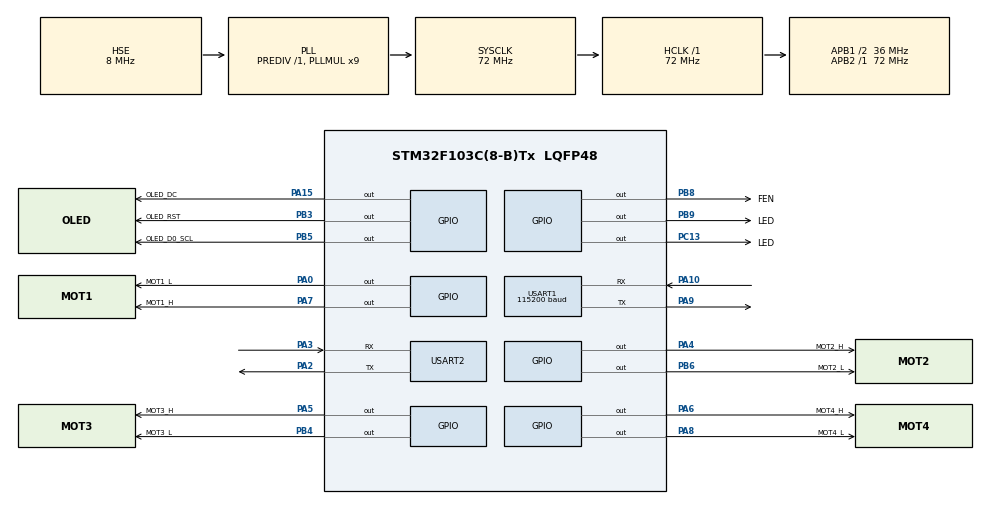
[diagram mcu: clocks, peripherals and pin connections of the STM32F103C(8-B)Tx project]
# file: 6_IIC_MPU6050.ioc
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FREERTOS.Tasks01=defaultTask,0,128,StartDefaultTask,Default,NULL,Dynamic,NULL,NULL;myTask02,-3,128,StartTask02,Default,NULL,Dynamic,NULL,NULL;myTask03,-3,128,StartTask03,Default,NULL,Dynamic,NULL,NULL;myTask04,-3,128,StartTask04,Default,NULL,Dynamic,NULL,NULL
Mcu.Family=STM32F1
Mcu.Name=STM32F103C(8-B)Tx
Mcu.Package=LQFP48
NVIC.PriorityGroup=NVIC_PRIORITYGROUP_4
NVIC.TIM4_IRQn=true\:5\:0\:false\:false\:true\:true\:true\:true
NVIC.USART1_IRQn=true\:5\:0\:false\:false\:true\:true\:true\:true
NVIC.USART2_IRQn=true\:5\:0\:false\:false\:true\:true\:true\:true
PA0-WKUP.GPIO_Label=MOT1_L
PA0-WKUP.Signal=GPIO_Output
PA10.Mode=Asynchronous
PA10.Signal=USART1_RX
PA13.Mode=Serial_Wire
PA13.Signal=SYS_JTMS-SWDIO
PA14.Mode=Serial_Wire
PA14.Signal=SYS_JTCK-SWCLK
PA15.GPIO_Label=OLED_DC
PA15.GPIO_Speed=GPIO_SPEED_FREQ_HIGH
PA15.Signal=GPIO_Output
PA2.Mode=Asynchronous
PA2.Signal=USART2_TX
PA3.Mode=Asynchronous
PA3.Signal=USART2_RX
PA4.GPIO_Label=MOT2_H
PA4.PinState=GPIO_PIN_RESET
PA4.Signal=GPIO_Output
PA5.GPIO_Label=MOT3_H
PA5.PinState=GPIO_PIN_RESET
PA5.Signal=GPIO_Output
PA6.GPIO_Label=MOT4_H
PA6.PinState=GPIO_PIN_RESET
PA6.Signal=GPIO_Output
PA7.GPIO_Label=MOT1_H
PA7.PinState=GPIO_PIN_RESET
PA7.Signal=GPIO_Output
PA8.GPIO_Label=MOT4_L
PA8.Signal=GPIO_Output
PA9.Mode=Asynchronous
PA9.Signal=USART1_TX
PB3.GPIO_Label=OLED_RST
PB3.GPIO_Speed=GPIO_SPEED_FREQ_HIGH
PB3.Signal=GPIO_Output
PB4.GPIO_Label=MOT3_L
PB4.Signal=GPIO_Output
PB5.GPIO_Label=OLED_D0_SCL
PB5.GPIO_Speed=GPIO_SPEED_FREQ_HIGH
PB5.Signal=GPIO_Output
PB6.GPIO_Label=MOT2_L
PB6.Signal=GPIO_Output
PB8.GPIO_Label=FEN
PB8.Signal=GPIO_Output
PB9.GPIO_Label=LED
PB9.Signal=GPIO_Output
PC13-TAMPER-RTC.GPIO_Label=LED
PC13-TAMPER-RTC.Signal=GPIO_Output
PD0-OSC_IN.Mode=HSE-External-Oscillator
PD0-OSC_IN.Signal=RCC_OSC_IN
PD1-OSC_OUT.Mode=HSE-External-Oscillator
PD1-OSC_OUT.Signal=RCC_OSC_OUT
ProjectManager.HeapSize=0x200
ProjectManager.StackSize=0x400
ProjectManager.TargetToolchain=MDK-ARM V5
RCC.ADCPresc=RCC_ADCPCLK2_DIV6
RCC.AHBFreq_Value=72000000
RCC.APB1CLKDivider=RCC_HCLK_DIV2
RCC.APB1Freq_Value=36000000
RCC.APB1TimFreq_Value=72000000
RCC.APB2Freq_Value=72000000
RCC.APB2TimFreq_Value=72000000
RCC.HCLKFreq_Value=72000000
RCC.PLLMUL=RCC_PLL_MUL9
RCC.PLLSourceVirtual=RCC_PLLSOURCE_HSE
RCC.SYSCLKFreq_VALUE=72000000
RCC.SYSCLKSource=RCC_SYSCLKSOURCE_PLLCLK
RCC.USBFreq_Value=72000000
TIM4.Period=3000
TIM4.Prescaler=200
USART1.BaudRate=115200
USART1.Mode=MODE_TX_RX
USART1.OverSampling=UART_OVERSAMPLING_16
USART1.Parity=PARITY_NONE
USART1.StopBits=STOPBITS_1
USART1.VirtualMode=VM_ASYNC
USART1.WordLength=WORDLENGTH_8B
USART2.VirtualMode=VM_ASYNC
VP_FREERTOS_VS_CMSIS_V1.Mode=CMSIS_V1
VP_TIM4_VS_ClockSourceINT.Mode=Internal
board=custom

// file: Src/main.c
/* USER CODE BEGIN Header */
/**
  ******************************************************************************
  * @file           : main.c
  * @brief          : Main program body
  ******************************************************************************
  * @attention
  *
  * <h2><center>&copy; Copyright (c) 2020 STMicroelectronics.
  * All rights reserved.</center></h2>
  *
  * This software component is licensed by ST under BSD 3-Clause license,
  * the "License"; You may not use this file except in compliance with the
  * License. You may obtain a copy of the License at:
  *                        opensource.org/licenses/BSD-3-Clause
  *
  ******************************************************************************
  */
/* USER CODE END Header */

#include "main.h"
#include "cmsis_os.h"

/* USER CODE BEGIN Includes */
//#include "DataScope_DP.h"

#include "my_func.h"

//#include "Oled.h"

//#include "IIC.h"
//#include "Mpu6050.h"
#include "Printf.h"

#include "stdio.h"
/* USER CODE END Includes */

TIM_HandleTypeDef htim4;

UART_HandleTypeDef huart1;
UART_HandleTypeDef huart2;

osThreadId defaultTaskHandle;
osThreadId myTask02Handle;
osThreadId myTask03Handle;
osThreadId myTask04Handle;

void SystemClock_Config(void);
static void MX_GPIO_Init(void);
static void MX_USART1_UART_Init(void);
static void MX_USART2_UART_Init(void);
static void MX_TIM4_Init(void);
void StartDefaultTask(void const * argument);
void StartTask02(void const * argument);
void StartTask03(void const * argument);
void StartTask04(void const * argument);

void GET(void);

/* USER CODE BEGIN 0 */

extern UART_HandleTypeDef huart1;
#ifdef __GNUC__
	#define PUTCHAR_PROTOTYPE int __io_putchar(int ch)
#else
	#define PUTCHAR_PROTOTYPE int fputc(int ch, FILE *f)
#endif
PUTCHAR_PROTOTYPE
{
		HAL_UART_Transmit(&huart2 , (uint8_t *)&ch, 1, 0xFFFF);
		return ch;
}

/* USER CODE END 0 */

int main(void)
{
  /* USER CODE BEGIN 1 */
  /* USER CODE BEGIN 1 */
    int Vol = 0,i;
	int Send_Count = 0;
	int temp;
  /* USER CODE END 1 */

  /* MCU Configuration--------------------------------------------------------*/

  /* Reset of all peripherals, Initializes the Flash interface and the Systick. */
  HAL_Init();

  /* Configure the system clock */
  SystemClock_Config();

  /* Initialize all configured peripherals */
  MX_GPIO_Init();
  MX_USART1_UART_Init();
  MX_USART2_UART_Init();
  MX_TIM4_Init();
  /* USER CODE BEGIN 2 */

	//angle varity

	//uart wifi

	extern uint8_t my_re_buf1[];
	extern uint8_t my_re_buf2[];
	HAL_UART_Receive_IT(&huart1,my_re_buf1,1);
	HAL_UART_Receive_IT(&huart2,my_re_buf2,1);

	HAL_TIM_Base_Start_IT(&htim4);

		switch(wifi_init())
	{
		case -1:HAL_UART_Transmit(&huart2, (uint8_t *)AT_ERROR, strlen(AT_ERROR), 0xFFFF);break;
		case -2:HAL_UART_Transmit(&huart2, (uint8_t *)MODE_ERROR, strlen(MODE_ERROR), 0xFFFF);break;
		case -3:HAL_UART_Transmit(&huart2, (uint8_t *)CONECT_WIFI_ERROR, strlen(CONECT_WIFI_ERROR), 0xFFFF);break;

		//test begin

		default :{
			HAL_UART_Transmit(&huart2, (uint8_t *)"wifi连接成功\r\n", 14, 0xFFFF);

			for(i=0;i++;i<3){

				GET();
			}

			break;
		}

	}

  HAL_GPIO_WritePin(GPIOA, MOT4_L_Pin|MOT1_L_Pin|MOT2_H_Pin|MOT3_H_Pin|MOT4_H_Pin|MOT1_H_Pin, GPIO_PIN_RESET);
  HAL_GPIO_WritePin(GPIOB, MOT3_L_Pin|MOT2_L_Pin, GPIO_PIN_RESET);

//
//		HAL_TIM_PWM_Start(&htim1,TIM_CHANNEL_1);
//			HAL_TIM_PWM_Start(&htim2,TIM_CHANNEL_1);
//				HAL_TIM_PWM_Start(&htim3,TIM_CHANNEL_1);
//					HAL_TIM_PWM_Start(&htim4,TIM_CHANNEL_1);

	//OLED_Init();

//	MPU6050_initialize();
	//DMP_Init();
  /* USER CODE END 2 */

  /* Create the thread(s) */
  /* definition and creation of defaultTask */
  osThreadDef(defaultTask, StartDefaultTask, osPriorityNormal, 0, 128);
  defaultTaskHandle = osThreadCreate(osThread(defaultTask), NULL);

  /* definition and creation of myTask02 */
  osThreadDef(myTask02, StartTask02, osPriorityIdle, 0, 128);
  myTask02Handle = osThreadCreate(osThread(myTask02), NULL);

  /* definition and creation of myTask03 */
  osThreadDef(myTask03, StartTask03, osPriorityIdle, 0, 128);
  myTask03Handle = osThreadCreate(osThread(myTask03), NULL);

  /* definition and creation of myTask04 */
  osThreadDef(myTask04, StartTask04, osPriorityIdle, 0, 128);
  myTask04Handle = osThreadCreate(osThread(myTask04), NULL);

  /* Start scheduler */
  osKernelStart();

  /* We should never get here as control is now taken by the scheduler */
  /* Infinite loop */
  while (1)
  {

    /* USER CODE BEGIN 3 */

//
//	//  Read_DMP();
//      Right_Moter(pwma_val);
//      Left_Moter(pwmb_val);
//	    counter1 = (float)Read_Encoder(2);
//	    coun2 ter2 = (float)Read_Encoder(4);
//	  //temp = Read_Temperature();
//	  printf("temp: %d\r\n",temp);
//	  printf("Pitch: %f\r\n",Pitch);
//	  printf("Roll: %f\r\n",Roll);
//
//
//
//		    //TEST   MOTOR
////
////				__HAL_TIM_SET_COMPARE(&htim1,TIM_CHANNEL_1,800);
////						__HAL_TIM_SET_COMPARE(&htim2,TIM_CHANNEL_1,800);
////								__HAL_TIM_SET_COMPARE(&htim3,TIM_CHANNEL_1,800);
////										__HAL_TIM_SET_COMPARE(&htim4,TIM_CHANNEL_1,800);
////
//
//
//
//
//		//TEST ONE
//
//		if(Pitch>20){
//
//			MOT1 = 1;
//			MOT3 = 0;
//
//		}else if(Pitch<-20){
//
//			MOT3 = 1;
//			MOT1 = 0;
//
//		}
//
//
//
//		if(MOT1 == 1){
//
//			__HAL_TIM_SET_COMPARE(&htim1,TIM_CHANNEL_1,800);
//
//		}else if(MOT3 = 1){
//
//		__HAL_TIM_SET_COMPARE(&htim3,TIM_CHANNEL_1,800);
//
//		}else if(MOT1 = 0){
//
//			__HAL_TIM_SET_COMPARE(&htim1,TIM_CHANNEL_1,0);
//
//		}else if(MOT3 = 0){
//
//			__HAL_TIM_SET_COMPARE(&htim3,TIM_CHANNEL_1,0);
//
//		}
//
//
//
//
//
//
//
//		if(Pitch>20){
//
//			MOT1 = MOT1-Pitch;
//
//			__HAL_TIM_SET_COMPARE(&htim1,TIM_CHANNEL_1,MOT1);
//
//
//		}else if(Pitch<-20){
//
//				MOT3 = MOT3-Pitch;
//
//				__HAL_TIM_SET_COMPARE(&htim3,TIM_CHANNEL_1,MOT3);
//		}else{
//
//				__HAL_TIM_SET_COMPARE(&htim1,TIM_CHANNEL_1,0);
//				__HAL_TIM_SET_COMPARE(&htim3,TIM_CHANNEL_1,0);
//		}
//
//		if(Roll>40){
//			__HAL_TIM_SET_COMPARE(&htim2,TIM_CHANNEL_1,800);
//
//
//		}else if(Roll<-40){
//
//				__HAL_TIM_SET_COMPARE(&htim4,TIM_CHANNEL_1,800);
//
//		}else {
//
//			__HAL_TIM_SET_COMPARE(&htim2,TIM_CHANNEL_1,0);
//				__HAL_TIM_SET_COMPARE(&htim4,TIM_CHANNEL_1,0);
//		}
//
//

//    DataScope_Get_Channel_Data(Read_Temperature(), 1 );
//	  DataScope_Get_Channel_Data(Pitch, 2 );
//	  DataScope_Get_Channel_Data(Roll, 3 );
//	  DataScope_Get_Channel_Data(counter2, 4 );
//	  Send_Count = DataScope_Data_Generate(3);
//      HAL_UART_Transmit(&huart1,DataScope_OutPut_Buffer,Send_Count,10);

//      Vol = Get_battery_volt();
//	  OLED_ShowString(0,0,"DMP");
//	  OLED_ShowString(00,40,"Vol");
//      OLED_ShowString(58,40,".");
//      OLED_ShowString(90,40,"V");
//      OLED_ShowNumber(40,40,Vol/1000,2,12);
//      OLED_ShowNumber(70,40,Vol%1000,2,12);
//
//      OLED_Refresh_Gram();
      HAL_Delay(100);
  }
  /* USER CODE END 3 */
}

void SystemClock_Config(void)
{
  RCC_OscInitTypeDef RCC_OscInitStruct = {0};
  RCC_ClkInitTypeDef RCC_ClkInitStruct = {0};

  /** Initializes the CPU, AHB and APB busses clocks
  */
  RCC_OscInitStruct.OscillatorType = RCC_OSCILLATORTYPE_HSE;
  RCC_OscInitStruct.HSEState = RCC_HSE_ON;
  RCC_OscInitStruct.HSEPredivValue = RCC_HSE_PREDIV_DIV1;
  RCC_OscInitStruct.HSIState = RCC_HSI_ON;
  RCC_OscInitStruct.PLL.PLLState = RCC_PLL_ON;
  RCC_OscInitStruct.PLL.PLLSource = RCC_PLLSOURCE_HSE;
  RCC_OscInitStruct.PLL.PLLMUL = RCC_PLL_MUL9;
  if (HAL_RCC_OscConfig(&RCC_OscInitStruct) != HAL_OK)
  {
    Error_Handler();
  }
  /** Initializes the CPU, AHB and APB busses clocks
  */
  RCC_ClkInitStruct.ClockType = RCC_CLOCKTYPE_HCLK|RCC_CLOCKTYPE_SYSCLK
                              |RCC_CLOCKTYPE_PCLK1|RCC_CLOCKTYPE_PCLK2;
  RCC_ClkInitStruct.SYSCLKSource = RCC_SYSCLKSOURCE_PLLCLK;
  RCC_ClkInitStruct.AHBCLKDivider = RCC_SYSCLK_DIV1;
  RCC_ClkInitStruct.APB1CLKDivider = RCC_HCLK_DIV2;
  RCC_ClkInitStruct.APB2CLKDivider = RCC_HCLK_DIV1;

  if (HAL_RCC_ClockConfig(&RCC_ClkInitStruct, FLASH_LATENCY_2) != HAL_OK)
  {
    Error_Handler();
  }
}

static void MX_TIM4_Init(void)
{

  TIM_ClockConfigTypeDef sClockSourceConfig = {0};
  TIM_MasterConfigTypeDef sMasterConfig = {0};

  htim4.Instance = TIM4;
  htim4.Init.Prescaler = 200;
  htim4.Init.CounterMode = TIM_COUNTERMODE_UP;
  htim4.Init.Period = 3000;
  htim4.Init.ClockDivision = TIM_CLOCKDIVISION_DIV1;
  htim4.Init.AutoReloadPreload = TIM_AUTORELOAD_PRELOAD_DISABLE;
  if (HAL_TIM_Base_Init(&htim4) != HAL_OK)
  {
    Error_Handler();
  }
  sClockSourceConfig.ClockSource = TIM_CLOCKSOURCE_INTERNAL;
  if (HAL_TIM_ConfigClockSource(&htim4, &sClockSourceConfig) != HAL_OK)
  {
    Error_Handler();
  }
  sMasterConfig.MasterOutputTrigger = TIM_TRGO_RESET;
  sMasterConfig.MasterSlaveMode = TIM_MASTERSLAVEMODE_DISABLE;
  if (HAL_TIMEx_MasterConfigSynchronization(&htim4, &sMasterConfig) != HAL_OK)
  {
    Error_Handler();
  }

}

static void MX_USART1_UART_Init(void)
{

  huart1.Instance = USART1;
  huart1.Init.BaudRate = 115200;
  huart1.Init.WordLength = UART_WORDLENGTH_8B;
  huart1.Init.StopBits = UART_STOPBITS_1;
  huart1.Init.Parity = UART_PARITY_NONE;
  huart1.Init.Mode = UART_MODE_TX_RX;
  huart1.Init.HwFlowCtl = UART_HWCONTROL_NONE;
  huart1.Init.OverSampling = UART_OVERSAMPLING_16;
  if (HAL_UART_Init(&huart1) != HAL_OK)
  {
    Error_Handler();
  }

}

static void MX_USART2_UART_Init(void)
{

  huart2.Instance = USART2;
  huart2.Init.BaudRate = 115200;
  huart2.Init.WordLength = UART_WORDLENGTH_8B;
  huart2.Init.StopBits = UART_STOPBITS_1;
  huart2.Init.Parity = UART_PARITY_NONE;
  huart2.Init.Mode = UART_MODE_TX_RX;
  huart2.Init.HwFlowCtl = UART_HWCONTROL_NONE;
  huart2.Init.OverSampling = UART_OVERSAMPLING_16;
  if (HAL_UART_Init(&huart2) != HAL_OK)
  {
    Error_Handler();
  }

}

static void MX_GPIO_Init(void)
{
  GPIO_InitTypeDef GPIO_InitStruct = {0};

  /* GPIO Ports Clock Enable */
  __HAL_RCC_GPIOC_CLK_ENABLE();
  __HAL_RCC_GPIOD_CLK_ENABLE();
  __HAL_RCC_GPIOA_CLK_ENABLE();
  __HAL_RCC_GPIOB_CLK_ENABLE();

  /*Configure GPIO pin Output Level */
  HAL_GPIO_WritePin(LED_GPIO_Port, LED_Pin, GPIO_PIN_RESET);

  /*Configure GPIO pin Output Level */
  HAL_GPIO_WritePin(GPIOA, MOT1_L_Pin|MOT2_H_Pin|MOT3_H_Pin|MOT4_H_Pin
                          |MOT1_H_Pin|MOT4_L_Pin|OLED_DC_Pin, GPIO_PIN_RESET);

  /*Configure GPIO pin Output Level */
  HAL_GPIO_WritePin(GPIOB, OLED_RST_Pin|MOT3_L_Pin|OLED_D0_SCL_Pin|MOT2_L_Pin
                          |FEN_Pin|LEDB9_Pin, GPIO_PIN_RESET);

  /*Configure GPIO pin : LED_Pin */
  GPIO_InitStruct.Pin = LED_Pin;
  GPIO_InitStruct.Mode = GPIO_MODE_OUTPUT_PP;
  GPIO_InitStruct.Pull = GPIO_NOPULL;
  GPIO_InitStruct.Speed = GPIO_SPEED_FREQ_LOW;
  HAL_GPIO_Init(LED_GPIO_Port, &GPIO_InitStruct);

  /*Configure GPIO pins : MOT1_L_Pin MOT2_H_Pin MOT3_H_Pin MOT4_H_Pin
                           MOT1_H_Pin MOT4_L_Pin */
  GPIO_InitStruct.Pin = MOT1_L_Pin|MOT2_H_Pin|MOT3_H_Pin|MOT4_H_Pin
                          |MOT1_H_Pin|MOT4_L_Pin;
  GPIO_InitStruct.Mode = GPIO_MODE_OUTPUT_PP;
  GPIO_InitStruct.Pull = GPIO_NOPULL;
  GPIO_InitStruct.Speed = GPIO_SPEED_FREQ_LOW;
  HAL_GPIO_Init(GPIOA, &GPIO_InitStruct);

  /*Configure GPIO pin : OLED_DC_Pin */
  GPIO_InitStruct.Pin = OLED_DC_Pin;
  GPIO_InitStruct.Mode = GPIO_MODE_OUTPUT_PP;
  GPIO_InitStruct.Pull = GPIO_NOPULL;
  GPIO_InitStruct.Speed = GPIO_SPEED_FREQ_HIGH;
  HAL_GPIO_Init(OLED_DC_GPIO_Port, &GPIO_InitStruct);

  /*Configure GPIO pins : OLED_RST_Pin OLED_D0_SCL_Pin */
  GPIO_InitStruct.Pin = OLED_RST_Pin|OLED_D0_SCL_Pin;
  GPIO_InitStruct.Mode = GPIO_MODE_OUTPUT_PP;
  GPIO_InitStruct.Pull = GPIO_NOPULL;
  GPIO_InitStruct.Speed = GPIO_SPEED_FREQ_HIGH;
  HAL_GPIO_Init(GPIOB, &GPIO_InitStruct);

  /*Configure GPIO pins : MOT3_L_Pin MOT2_L_Pin FEN_Pin LEDB9_Pin */
  GPIO_InitStruct.Pin = MOT3_L_Pin|MOT2_L_Pin|FEN_Pin|LEDB9_Pin;
  GPIO_InitStruct.Mode = GPIO_MODE_OUTPUT_PP;
  GPIO_InitStruct.Pull = GPIO_NOPULL;
  GPIO_InitStruct.Speed = GPIO_SPEED_FREQ_LOW;
  HAL_GPIO_Init(GPIOB, &GPIO_InitStruct);

}

void StartDefaultTask(void const * argument)
{
  for(;;)
  {
    osDelay(1);
  }
}

void StartTask02(void const * argument)
{
  /* USER CODE BEGIN StartTask02 */
  /* Infinite loop */
  for(;;)
  {

		 HAL_GPIO_WritePin(GPIOB,FEN_Pin, GPIO_PIN_RESET);

		HAL_Delay(1000);

		 HAL_GPIO_WritePin(GPIOB,FEN_Pin, GPIO_PIN_SET);

			HAL_Delay(200);

  }
  /* USER CODE END StartTask02 */
}

void StartTask03(void const * argument)
{
  /* USER CODE BEGIN StartTask03 */
  /* Infinite loop */
  for(;;)
  {

		 HAL_GPIO_WritePin(GPIOB,LEDB9_Pin, GPIO_PIN_RESET);

		HAL_Delay(1000);

		 HAL_GPIO_WritePin(GPIOB,LEDB9_Pin, GPIO_PIN_SET);

			HAL_Delay(1000);

  }
  /* USER CODE END StartTask03 */
}

void StartTask04(void const * argument)
{
  for(;;)
  {
    osDelay(1);
  }
}

void GET(void)
{
   HAL_GPIO_WritePin(GPIOB,FEN_Pin, GPIO_PIN_RESET);

		HAL_Delay(500);

		 HAL_GPIO_WritePin(GPIOB,FEN_Pin, GPIO_PIN_SET);

			HAL_Delay(100);
}

void Error_Handler(void)
{
}

/************************ (C) COPYRIGHT STMicroelectronics *****END OF FILE****/
